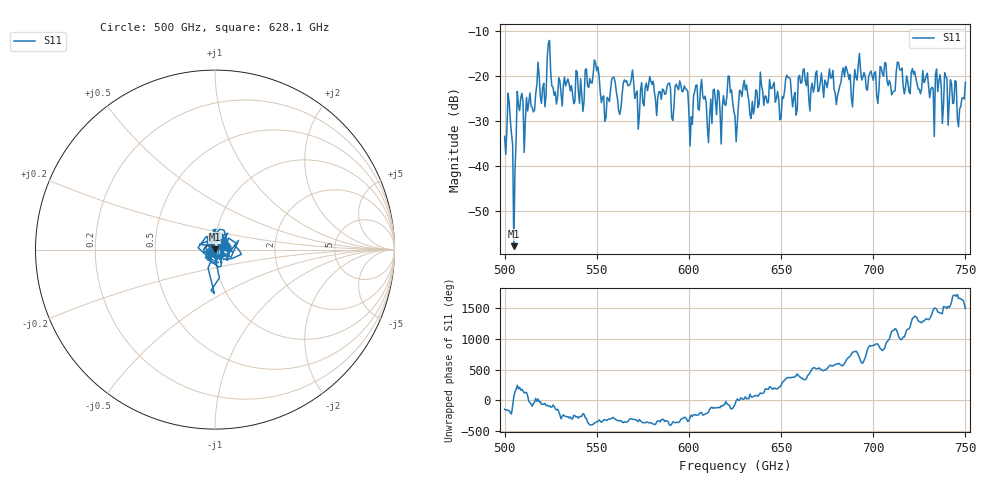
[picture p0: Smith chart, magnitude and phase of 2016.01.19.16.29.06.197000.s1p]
!Created with skrf (http://scikit-rf.org).
# GHz S RI R 50.0
!freq ReS11 ImS11
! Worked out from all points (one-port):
!   401 points, 500 GHz to 750 GHz, reference 50 ohm
!   lowest |S11| = -57.9 dB at 505 GHz (marker M1), VSWR 1.00, Z = 50.1 + j0.111 ohm
!   |S11| at or under -10 dB: start of sweep to end of sweep
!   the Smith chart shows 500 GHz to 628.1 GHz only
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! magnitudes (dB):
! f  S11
! 500 GHz  -33.5
! 503.1 GHz  -30.0
! 505 GHz  -57.9
! 508.1 GHz  -27.8
! 521.2 GHz  -21.7
! 524.4 GHz  -12.2
! 526.9 GHz  -24.4
! 531.2 GHz  -26.8
! 541.9 GHz  -24.5
! 549.4 GHz  -17.3
! 553.8 GHz  -24.5
! 558.8 GHz  -20.4
! 562.5 GHz  -28.6
! 568.8 GHz  -20.8
! 593.8 GHz  -22.6
! 601.2 GHz  -29.2
! 607.5 GHz  -24.5
! 611.2 GHz  -28.8
! 621.9 GHz  -20.1
! 625 GHz  -29.0
! 630.6 GHz  -23.2
! 634.4 GHz  -25.7
! 656.2 GHz  -26.9
! 687.5 GHz  -19.8
! 718.8 GHz  -21.3
! 735 GHz  -23.6
! 746.9 GHz  -27.4
! 750 GHz  -21.5
